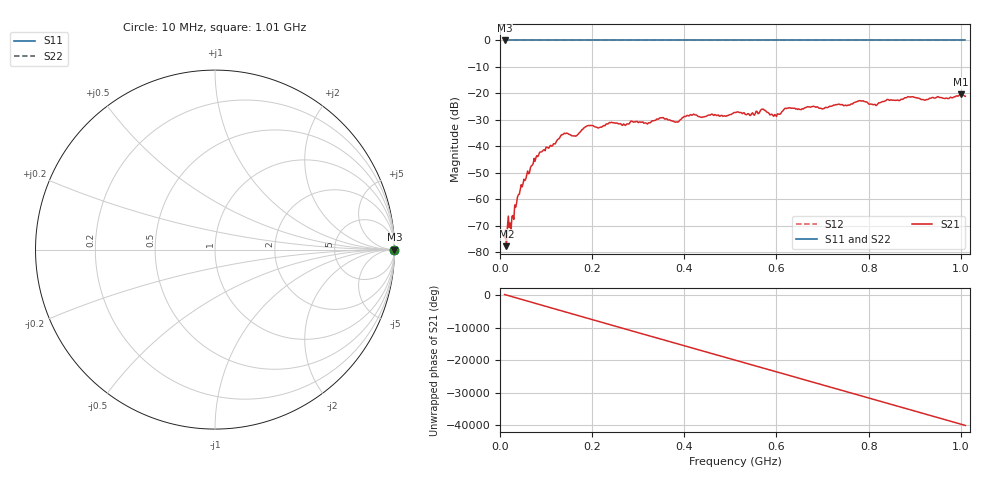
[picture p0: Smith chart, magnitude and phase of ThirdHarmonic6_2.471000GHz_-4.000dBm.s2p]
! 8/17/2025 4:32:41 AM
! C:\ANRITSUVNA\TEMP\TEMP.S2P
! CHANNEL.1
! TR.MEASUREMENT
! RAW.DATA
! RF.CORRECTION.OFF
! AVERAGING.OFF
! IF.BANDWIDTH: 5KHZ
! SWEEPTYPE:  FREQ.SWEEP(Linear)
! Reference Plane Port Info
! PORT:  PORT1  PORT2
! DISTANCE:  0  m  0  m
! TIME:  0  s  0  s
! PHASE.OFFSET:  0  deg.  0  deg.
! LOSS:  0  dB  0  dB
! REF.LOSS:  0  dB  0  dB
! REF.FREQ:  0  Hz  0  Hz
! Power Info
! POWER:  -20  dBm  -20  dBm
! EFF.POWER:  -20  dBm  -20  dBm
! SOURCE.ATTEN:  0  dB  0  dB
! TEST.ATTEN:  0  dB  0  dB
# GHZ S RI R 50.0
! FREQ.GHZ  S11RE  S11IM  S21RE  S21IM  S12RE  S12IM  S22RE  S22IM
!; PortSelection: Port_12
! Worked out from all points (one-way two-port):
!   501 points, 10 MHz to 1.01 GHz, reference 50 ohm
!   highest |S21| = -20.42 dB at 1 GHz (marker M1); lowest = -77.8 dB at 14 MHz (marker M2)
!   lowest |S11| = 0.0 dB at 10 MHz (marker M3)
!   |S11| at or under -10 dB: nowhere
!   |S22| runs from 0.0 to 0.0 dB; largest |S21 - S12| = 1.1
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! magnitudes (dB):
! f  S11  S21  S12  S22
! 10 MHz  0.0  -74.5  0.0  0.0
! 14 MHz  0.0  -77.8  0.0  0.0
! 26 MHz  0.0  -66.4  0.0  0.0
! 48 MHz  0.0  -55.4  0.0  0.0
! 82 MHz  0.0  -43.9  0.0  0.0
! 136 MHz  0.0  -35.6  0.0  0.0
! 162 MHz  0.0  -36.1  0.0  0.0
! 178 MHz  0.0  -33.7  0.0  0.0
! 344 MHz  0.0  -29.7  0.0  0.0
! 382 MHz  0.0  -30.8  0.0  0.0
! 416 MHz  0.0  -28.3  0.0  0.0
! 510 MHz  0.0  -27.2  0.0  0.0
! 548 MHz  0.0  -27.3  0.0  0.0
! 570 MHz  0.0  -26.0  0.0  0.0
! 596 MHz  0.0  -28.0  0.0  0.0
! 622 MHz  0.0  -25.7  0.0  0.0
! 678 MHz  0.0  -25.0  0.0  0.0
! 784 MHz  0.0  -22.9  0.0  0.0
! 814 MHz  0.0  -24.2  0.0  0.0
! 844 MHz  0.0  -22.5  0.0  0.0
! 1 GHz  0.0  -20.4  0.0  0.0
! 1.01 GHz  0.0  -21.1  0.0  0.0
